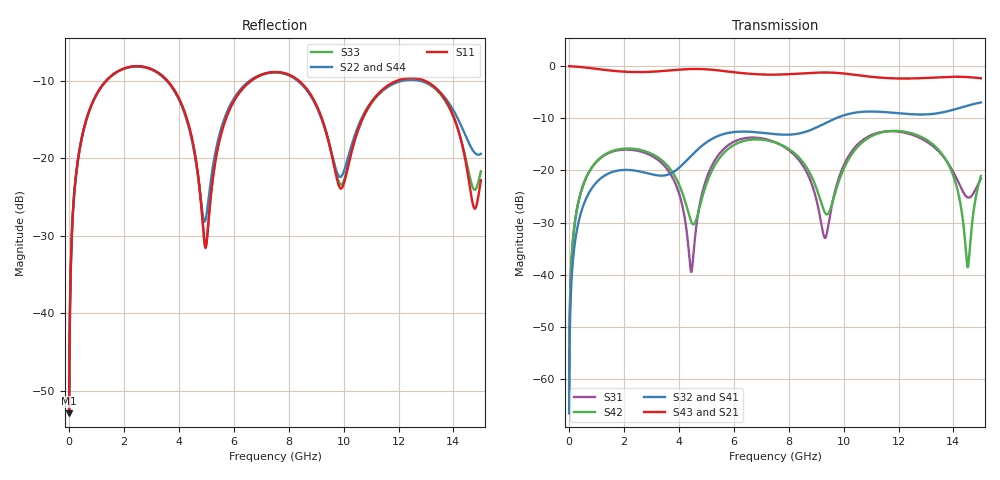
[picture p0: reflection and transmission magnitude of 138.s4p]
! Created with skrf 1.8.0 (http://scikit-rf.org).
# GHz S RI R 50.0
!freq ReS11 ImS11 ReS12 ImS12 ReS13 ImS13
! ReS14 ImS14
! ReS21 ImS21 ReS22 ImS22 ReS23 ImS23
! ReS24 ImS24
! ReS31 ImS31 ReS32 ImS32 ReS33 ImS33
! ReS34 ImS34
! ReS41 ImS41 ReS42 ImS42 ReS43 ImS43
! ReS44 ImS44
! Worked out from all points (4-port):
!   2499 points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, 5 MHz to 15 GHz, reference 50 ohm
!   strongest paths, dB at 5 MHz, 3.476 GHz, 7.19 GHz, 11.1 GHz, 15 GHz:
!     S43: 0.0, -0.9, -1.6, -2.1, -2.3
!     S21: 0.0, -0.9, -1.6, -2.1, -2.3
!     S32: -66.6, -21.0, -12.9, -8.7, -7.0
!     S41: -66.6, -21.1, -13.0, -8.8, -7.0
!     S42: -62.5, -18.5, -14.2, -13.2, -21.1
!     S31: -62.5, -19.1, -14.0, -13.0, -21.6
!   lowest |S11| = -52.9 dB at 5 MHz (marker M1), VSWR 1.00, Z = 50.2 + j0.138 ohm
!   |S11| at or under -10 dB: 3.583 GHz to 6.625 GHz (3.042 GHz wide, 59.6 % of centre); 8.371 GHz to 11.94 GHz (3.572 GHz wide, 35.2 % of centre); 12.96 GHz to end of sweep (the widest 3 of 4)
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0.005  0.00181 0.00137  0.9982 -0.00352  9.22e-05 0.000742  -8.94e-05 -0.000462
       0.9982 -0.00352  0.00181 0.00137  -8.94e-05 -0.000462  9.23e-05 0.000742
       9.22e-05 0.000742  -8.94e-05 -0.000462  0.00181 0.00137  0.9982 -0.00352
       -8.94e-05 -0.000462  9.23e-05 0.000742  0.9982 -0.00352  0.00181 0.00137
0.4126719  0.0439 0.1129  0.9388 -0.2821  0.0217 0.0548  -0.0182 -0.0326
           0.9388 -0.2821  0.0437 0.1129  -0.0182 -0.0326  0.0227 0.0545
           0.0217 0.0548  -0.0182 -0.0326  0.0439 0.1129  0.9388 -0.2821
           -0.0182 -0.0326  0.0227 0.0545  0.9388 -0.2821  0.0438 0.1129
1.925802  0.3596 0.105  0.3003 -0.8343  0.1548 0.0302  -0.0941 0.0348
          0.3003 -0.8343  0.3566 0.1088  -0.0944 0.0354  0.1605 0.0141
          0.1548 0.0302  -0.0944 0.0354  0.3594 0.1052  0.3004 -0.8343
          -0.0941 0.0348  0.1605 0.0141  0.3004 -0.8343  0.3568 0.1086
4.451855  0.065 -0.1252  -0.8599 -0.3731  0.0104 0.00206  -0.0524 0.128
          -0.8599 -0.3731  0.0745 -0.1142  -0.0489 0.1294  -0.0276 -0.0169
          0.0104 0.00206  -0.0489 0.1294  0.0656 -0.1245  -0.86 -0.3731
          -0.0524 0.128  -0.0276 -0.0169  -0.86 -0.3731  0.0734 -0.1142
7.528137  0.36 -0.0107  -0.0797 0.8248  0.1721 -0.069  0.2139 -0.0479
          -0.0797 0.8248  0.3583 -0.012  0.2149 -0.0573  0.1697 -0.0727
          0.1721 -0.069  0.2149 -0.0573  0.358 -0.00802  -0.0801 0.8248
          0.2139 -0.0479  0.1697 -0.0727  -0.0801 0.8248  0.3601 -0.0143
10.25427  0.0861 0.0583  0.8334 -0.0436  0.0572 0.1348  -0.0318 -0.3494
          0.8334 -0.0436  0.0988 0.0594  -0.0498 -0.3475  0.046 0.1296
          0.0572 0.1348  -0.0498 -0.3475  0.0883 0.0557  0.8335 -0.0427
          -0.0318 -0.3494  0.046 0.1296  0.8335 -0.0427  0.0962 0.0627
15  0.0534 0.0485  -0.7486 -0.1531  -0.0305 0.077  -0.091 0.4391
    -0.7486 -0.1531  0.1068 0.001  -0.0533 0.4447  0.0641 0.0609
    -0.0305 0.077  -0.0533 0.4447  0.0684 0.0459  -0.7485 -0.1565
    -0.091 0.4391  0.0641 0.0609  -0.7485 -0.1565  0.0963 0.000498
